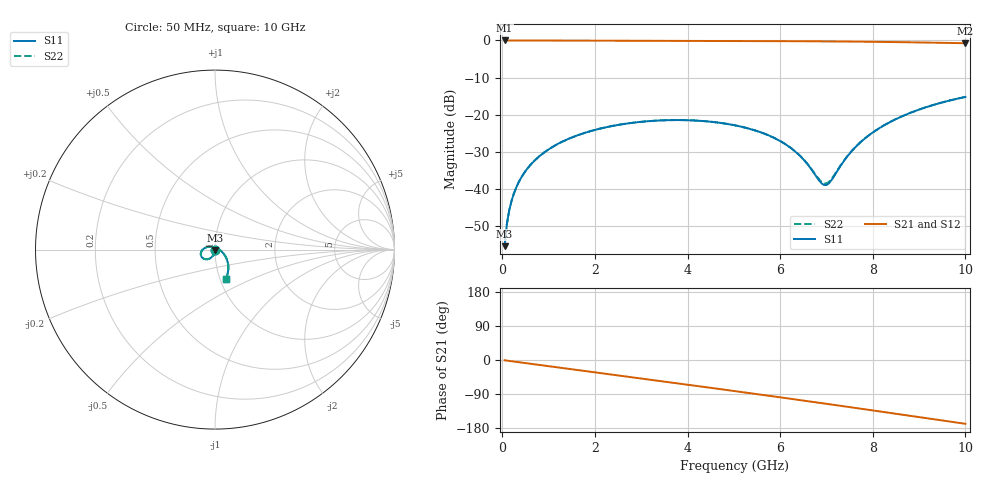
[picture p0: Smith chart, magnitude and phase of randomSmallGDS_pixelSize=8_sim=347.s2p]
! freq	dB(S11)	phase(S11)	dB(S12)	phase(S12)
!  dB(S21)	phase(S21)	dB(S22)	phase(S22)
!S-par simulation data
#  GHz  S  DB  R 50
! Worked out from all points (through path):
!   200 points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, 50 MHz to 10 GHz, reference 50 ohm
!   highest |S21| = 0.00 dB at 50 MHz (marker M1); lowest = -0.7 dB at 10 GHz (marker M2)
!   group delay of S21, straight-line fit = 46.6 ps
!   lowest |S11| = -55.3 dB at 50 MHz (marker M3), VSWR 1.00, Z = 50 - j0.171 ohm
!   |S11| at or under -10 dB: start of sweep to end of sweep
!   |S22| runs from -55.3 to -15.2 dB; largest |S21 - S12| = 0
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0.05  -55.35 -90.7  -0.00 -0.8  -0.00 -0.8  -55.35 -90.7
0.1  -49.27 -92.2  -0.00 -1.6  -0.00 -1.6  -49.27 -92.3
0.2  -43.16 -94.3  -0.00 -3.3  -0.00 -3.3  -43.16 -94.3
0.35  -38.25 -96.7  -0.00 -5.8  -0.00 -5.8  -38.25 -96.7
0.5  -35.16 -99.1  -0.01 -8.2  -0.01 -8.2  -35.16 -99.1
0.7  -32.28 -102.4  -0.01 -11.5  -0.01 -11.5  -32.28 -102.4
1  -29.31 -107.4  -0.02 -16.3  -0.02 -16.3  -29.31 -107.4
1.75  -24.98 -119.9  -0.04 -28.5  -0.04 -28.5  -24.98 -119.9
2.5  -22.72 -132.4  -0.07 -40.7  -0.07 -40.7  -22.72 -132.4
3.4  -21.52 -147.5  -0.09 -55.3  -0.09 -55.3  -21.52 -147.6
4.25  -21.61 -162.3  -0.12 -69.3  -0.12 -69.3  -21.60 -162.5
5.05  -22.90 -177.3  -0.14 -82.5  -0.14 -82.5  -22.90 -177.5
5.6  -24.81 171.0  -0.16 -91.7  -0.16 -91.7  -24.80 170.7
6.05  -27.43 159.2  -0.19 -99.3  -0.19 -99.3  -27.41 158.7
6.4  -30.71 145.8  -0.21 -105.3  -0.21 -105.3  -30.66 144.9
6.7  -35.13 123.3  -0.23 -110.4  -0.23 -110.4  -34.99 122.0
6.9  -38.50 88.3  -0.24 -113.9  -0.24 -113.9  -38.14 87.4
7  -38.89 61.9  -0.25 -115.6  -0.25 -115.6  -38.48 62.0
7.65  -28.39 -15.8  -0.32 -126.9  -0.32 -126.9  -28.34 -14.9
8.35  -22.11 -37.0  -0.41 -139.2  -0.41 -139.2  -22.09 -36.4
9.1  -18.17 -53.1  -0.55 -152.5  -0.55 -152.5  -18.16 -52.7
10  -15.20 -70.2  -0.75 -168.4  -0.75 -168.4  -15.19 -69.8
